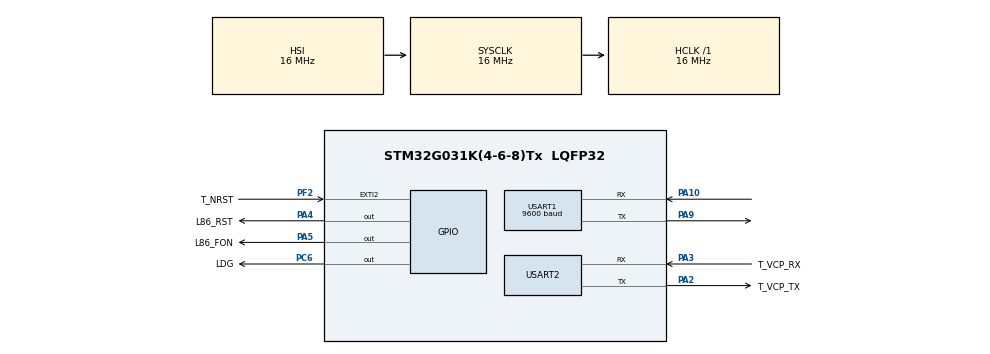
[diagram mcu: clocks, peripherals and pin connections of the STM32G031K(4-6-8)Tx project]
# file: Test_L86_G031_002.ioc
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Mcu.Family=STM32G0
Mcu.Name=STM32G031K(4-6-8)Tx
Mcu.Package=LQFP32
PA10.Mode=Asynchronous
PA10.Signal=USART1_RX
PA13.GPIO_Label=T_JTMS
PA13.Mode=Serial_Wire
PA13.Signal=SYS_SWDIO
PA14-BOOT0.GPIO_Label=T_JTCK
PA14-BOOT0.Mode=Serial_Wire
PA14-BOOT0.Signal=SYS_SWCLK
PA2.GPIO_Label=T_VCP_TX
PA2.GPIO_PuPd=GPIO_PULLUP
PA2.Mode=Asynchronous
PA2.Signal=USART2_TX
PA3.GPIO_Label=T_VCP_RX
PA3.GPIO_PuPd=GPIO_PULLUP
PA3.Mode=Asynchronous
PA3.Signal=USART2_RX
PA4.GPIO_Label=L86_RST
PA4.PinState=GPIO_PIN_SET
PA4.Signal=GPIO_Output
PA5.GPIO_Label=L86_FON
PA5.Signal=GPIO_Output
PA9.Mode=Asynchronous
PA9.Signal=USART1_TX
PC14-OSC32_IN\ (PC14).Mode=LSE-External-Oscillator
PC14-OSC32_IN\ (PC14).Signal=RCC_OSC32_IN
PC15-OSC32_OUT\ (PC15).Mode=LSE-External-Oscillator
PC15-OSC32_OUT\ (PC15).Signal=RCC_OSC32_OUT
PC6.GPIO_Label=LDG
PC6.Signal=GPIO_Output
PF2\ -\ NRST.GPIO_Label=T_NRST
PF2\ -\ NRST.Signal=GPXTI2
ProjectManager.HeapSize=0x200
ProjectManager.StackSize=0x400
ProjectManager.TargetToolchain=STM32CubeIDE
RCC.AHBFreq_Value=16000000
RCC.CortexFreq_Value=16000000
RCC.EXTERNAL_CLOCK_VALUE=12288000
RCC.HCLKFreq_Value=16000000
RCC.HSE_VALUE=8000000
RCC.HSI_VALUE=16000000
RCC.SYSCLKFreq_VALUE=16000000
RCC.VCOOutputFreq_Value=128000000
RTC.Alarm-Alarm\ A=RTC_ALARM_A
RTC.Date=30
RTC.Month=RTC_MONTH_SEPTEMBER
RTC.WeekDay=RTC_WEEKDAY_SATURDAY
RTC.Year=23
USART1.BaudRate=9600
USART1.VirtualMode-Asynchronous=VM_ASYNC
USART2.VirtualMode-Asynchronous=VM_ASYNC
USART2.WordLength=WORDLENGTH_7B
VP_RTC_VS_RTC_Activate.Mode=RTC_Enabled
VP_RTC_VS_RTC_Alarm_A_Intern.Mode=Alarm A
VP_RTC_VS_RTC_Calendar.Mode=RTC_Calendar
board=NUCLEO-G031K8

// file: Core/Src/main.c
/* USER CODE BEGIN Header */
/**
  ******************************************************************************
  * @file           : main.c
  * @brief          : Main program body
  ******************************************************************************
  * @attention
  *
  * Copyright (c) 2023 STMicroelectronics.
  * All rights reserved.
  *
  * This software is licensed under terms that can be found in the LICENSE file
  * in the root directory of this software component.
  * If no LICENSE file comes with this software, it is provided AS-IS.
  *
  ******************************************************************************
  */
/* USER CODE END Header */
#include "main.h"

/* USER CODE BEGIN Includes */
#include <stdio.h>
#include <string.h>
#include <stdbool.h>
/* USER CODE END Includes */

/* USER CODE BEGIN PD */
#define HUART_L86						&huart1
#define HUART_USB						&huart2
#define UART_TX_TIMEOUT					100
#define UART_L86_RX_MAX_BUFF_SIZE		100
#define UART_USB_RX_MAX_BUFF_SIZE		100
#define UART_TX_MAX_BUFF_SIZE			250
/* USER CODE END PD */

RTC_HandleTypeDef hrtc;

UART_HandleTypeDef huart1;
UART_HandleTypeDef huart2;

/* USER CODE BEGIN PV */
HAL_StatusTypeDef result = HAL_ERROR ; // HAL_OK = 0x00, HAL_ERROR = 0x01, HAL_BUSY = 0x02, HAL_TIMEOUT = 0x03
/* USER CODE END PV */

void SystemClock_Config(void);
static void MX_GPIO_Init(void);
static void MX_USART2_UART_Init(void);
static void MX_RTC_Init(void);
static void MX_USART1_UART_Init(void);
/* USER CODE BEGIN PFP */
void send_debug_logs ( char* ) ;
void reset_l86 ( void ) ;
void send_l86_request ( uint8_t* , uint32_t ) ;
bool is_l86_character_received ( uint8_t* ) ;
/* USER CODE END PFP */

int main(void)
{

  /* MCU Configuration--------------------------------------------------------*/

  /* Reset of all peripherals, Initializes the Flash interface and the Systick. */
  HAL_Init();

  /* Configure the system clock */
  SystemClock_Config();

  /* Initialize all configured peripherals */
  MX_GPIO_Init();
  MX_USART2_UART_Init();
  MX_RTC_Init();
  MX_USART1_UART_Init();
  /* USER CODE BEGIN 2 */
	send_debug_logs ( "\nStart the application." ) ;

  /* USER CODE END 2 */

  /* Infinite loop */
  while (1)
  {

  }
}

void SystemClock_Config(void)
{
  RCC_OscInitTypeDef RCC_OscInitStruct = {0};
  RCC_ClkInitTypeDef RCC_ClkInitStruct = {0};

  /** Configure the main internal regulator output voltage
  */
  HAL_PWREx_ControlVoltageScaling(PWR_REGULATOR_VOLTAGE_SCALE1);

  /** Initializes the RCC Oscillators according to the specified parameters
  * in the RCC_OscInitTypeDef structure.
  */
  RCC_OscInitStruct.OscillatorType = RCC_OSCILLATORTYPE_HSI|RCC_OSCILLATORTYPE_LSI;
  RCC_OscInitStruct.HSIState = RCC_HSI_ON;
  RCC_OscInitStruct.HSIDiv = RCC_HSI_DIV1;
  RCC_OscInitStruct.HSICalibrationValue = RCC_HSICALIBRATION_DEFAULT;
  RCC_OscInitStruct.LSIState = RCC_LSI_ON;
  RCC_OscInitStruct.PLL.PLLState = RCC_PLL_NONE;
  if (HAL_RCC_OscConfig(&RCC_OscInitStruct) != HAL_OK)
  {
    Error_Handler();
  }

  /** Initializes the CPU, AHB and APB buses clocks
  */
  RCC_ClkInitStruct.ClockType = RCC_CLOCKTYPE_HCLK|RCC_CLOCKTYPE_SYSCLK
                              |RCC_CLOCKTYPE_PCLK1;
  RCC_ClkInitStruct.SYSCLKSource = RCC_SYSCLKSOURCE_HSI;
  RCC_ClkInitStruct.AHBCLKDivider = RCC_SYSCLK_DIV1;
  RCC_ClkInitStruct.APB1CLKDivider = RCC_HCLK_DIV1;

  if (HAL_RCC_ClockConfig(&RCC_ClkInitStruct, FLASH_LATENCY_0) != HAL_OK)
  {
    Error_Handler();
  }
}

static void MX_RTC_Init(void)
{

  RTC_TimeTypeDef sTime = {0};
  RTC_DateTypeDef sDate = {0};
  RTC_AlarmTypeDef sAlarm = {0};

  /** Initialize RTC Only
  */
  hrtc.Instance = RTC;
  hrtc.Init.HourFormat = RTC_HOURFORMAT_24;
  hrtc.Init.AsynchPrediv = 127;
  hrtc.Init.SynchPrediv = 255;
  hrtc.Init.OutPut = RTC_OUTPUT_DISABLE;
  hrtc.Init.OutPutRemap = RTC_OUTPUT_REMAP_NONE;
  hrtc.Init.OutPutPolarity = RTC_OUTPUT_POLARITY_HIGH;
  hrtc.Init.OutPutType = RTC_OUTPUT_TYPE_OPENDRAIN;
  hrtc.Init.OutPutPullUp = RTC_OUTPUT_PULLUP_NONE;
  if (HAL_RTC_Init(&hrtc) != HAL_OK)
  {
    Error_Handler();
  }

  /** Initialize RTC and set the Time and Date
  */
  sTime.Hours = 0x0;
  sTime.Minutes = 0x0;
  sTime.Seconds = 0x0;
  sTime.SubSeconds = 0x0;
  sTime.DayLightSaving = RTC_DAYLIGHTSAVING_NONE;
  sTime.StoreOperation = RTC_STOREOPERATION_RESET;
  if (HAL_RTC_SetTime(&hrtc, &sTime, RTC_FORMAT_BCD) != HAL_OK)
  {
    Error_Handler();
  }
  sDate.WeekDay = RTC_WEEKDAY_SATURDAY;
  sDate.Month = RTC_MONTH_SEPTEMBER;
  sDate.Date = 0x30;
  sDate.Year = 0x23;

  if (HAL_RTC_SetDate(&hrtc, &sDate, RTC_FORMAT_BCD) != HAL_OK)
  {
    Error_Handler();
  }

  /** Enable the Alarm A
  */
  sAlarm.AlarmTime.Hours = 0x0;
  sAlarm.AlarmTime.Minutes = 0x0;
  sAlarm.AlarmTime.Seconds = 0x0;
  sAlarm.AlarmTime.SubSeconds = 0x0;
  sAlarm.AlarmTime.DayLightSaving = RTC_DAYLIGHTSAVING_NONE;
  sAlarm.AlarmTime.StoreOperation = RTC_STOREOPERATION_RESET;
  sAlarm.AlarmMask = RTC_ALARMMASK_NONE;
  sAlarm.AlarmSubSecondMask = RTC_ALARMSUBSECONDMASK_ALL;
  sAlarm.AlarmDateWeekDaySel = RTC_ALARMDATEWEEKDAYSEL_DATE;
  sAlarm.AlarmDateWeekDay = 0x1;
  sAlarm.Alarm = RTC_ALARM_A;
  if (HAL_RTC_SetAlarm(&hrtc, &sAlarm, RTC_FORMAT_BCD) != HAL_OK)
  {
    Error_Handler();
  }

}

static void MX_USART1_UART_Init(void)
{

  huart1.Instance = USART1;
  huart1.Init.BaudRate = 9600;
  huart1.Init.WordLength = UART_WORDLENGTH_8B;
  huart1.Init.StopBits = UART_STOPBITS_1;
  huart1.Init.Parity = UART_PARITY_NONE;
  huart1.Init.Mode = UART_MODE_TX_RX;
  huart1.Init.HwFlowCtl = UART_HWCONTROL_NONE;
  huart1.Init.OverSampling = UART_OVERSAMPLING_16;
  huart1.Init.OneBitSampling = UART_ONE_BIT_SAMPLE_DISABLE;
  huart1.Init.ClockPrescaler = UART_PRESCALER_DIV1;
  huart1.AdvancedInit.AdvFeatureInit = UART_ADVFEATURE_NO_INIT;
  if (HAL_UART_Init(&huart1) != HAL_OK)
  {
    Error_Handler();
  }
  if (HAL_UARTEx_SetTxFifoThreshold(&huart1, UART_TXFIFO_THRESHOLD_1_8) != HAL_OK)
  {
    Error_Handler();
  }
  if (HAL_UARTEx_SetRxFifoThreshold(&huart1, UART_RXFIFO_THRESHOLD_1_8) != HAL_OK)
  {
    Error_Handler();
  }
  if (HAL_UARTEx_DisableFifoMode(&huart1) != HAL_OK)
  {
    Error_Handler();
  }

}

static void MX_USART2_UART_Init(void)
{

  huart2.Instance = USART2;
  huart2.Init.BaudRate = 115200;
  huart2.Init.WordLength = UART_WORDLENGTH_7B;
  huart2.Init.StopBits = UART_STOPBITS_1;
  huart2.Init.Parity = UART_PARITY_NONE;
  huart2.Init.Mode = UART_MODE_TX_RX;
  huart2.Init.HwFlowCtl = UART_HWCONTROL_NONE;
  huart2.Init.OverSampling = UART_OVERSAMPLING_16;
  huart2.Init.OneBitSampling = UART_ONE_BIT_SAMPLE_DISABLE;
  huart2.Init.ClockPrescaler = UART_PRESCALER_DIV1;
  huart2.AdvancedInit.AdvFeatureInit = UART_ADVFEATURE_NO_INIT;
  if (HAL_UART_Init(&huart2) != HAL_OK)
  {
    Error_Handler();
  }

}

static void MX_GPIO_Init(void)
{
  GPIO_InitTypeDef GPIO_InitStruct = {0};

  /* GPIO Ports Clock Enable */
  __HAL_RCC_GPIOC_CLK_ENABLE();
  __HAL_RCC_GPIOF_CLK_ENABLE();
  __HAL_RCC_GPIOA_CLK_ENABLE();

  /*Configure GPIO pin Output Level */
  HAL_GPIO_WritePin(L86_RST_GPIO_Port, L86_RST_Pin, GPIO_PIN_SET);

  /*Configure GPIO pin Output Level */
  HAL_GPIO_WritePin(L86_FON_GPIO_Port, L86_FON_Pin, GPIO_PIN_RESET);

  /*Configure GPIO pin Output Level */
  HAL_GPIO_WritePin(LDG_GPIO_Port, LDG_Pin, GPIO_PIN_RESET);

  /*Configure GPIO pin : T_NRST_Pin */
  GPIO_InitStruct.Pin = T_NRST_Pin;
  GPIO_InitStruct.Mode = GPIO_MODE_IT_RISING;
  GPIO_InitStruct.Pull = GPIO_NOPULL;
  HAL_GPIO_Init(T_NRST_GPIO_Port, &GPIO_InitStruct);

  /*Configure GPIO pins : L86_RST_Pin L86_FON_Pin */
  GPIO_InitStruct.Pin = L86_RST_Pin|L86_FON_Pin;
  GPIO_InitStruct.Mode = GPIO_MODE_OUTPUT_PP;
  GPIO_InitStruct.Pull = GPIO_NOPULL;
  GPIO_InitStruct.Speed = GPIO_SPEED_FREQ_LOW;
  HAL_GPIO_Init(GPIOA, &GPIO_InitStruct);

  /*Configure GPIO pin : LDG_Pin */
  GPIO_InitStruct.Pin = LDG_Pin;
  GPIO_InitStruct.Mode = GPIO_MODE_OUTPUT_PP;
  GPIO_InitStruct.Pull = GPIO_NOPULL;
  GPIO_InitStruct.Speed = GPIO_SPEED_FREQ_LOW;
  HAL_GPIO_Init(LDG_GPIO_Port, &GPIO_InitStruct);

}

/* USER CODE BEGIN 4 */
void send_debug_logs ( char* p_tx_buffer )
{
    uint32_t length = strlen ( p_tx_buffer ) ;

    if ( length > UART_TX_MAX_BUFF_SIZE )
    {
        HAL_UART_Transmit ( HUART_USB , ( uint8_t* ) ";[ERROR] UART buffer reached max length.\n" , 43 , 1000 ) ;
        length = UART_TX_MAX_BUFF_SIZE;
    }

    HAL_UART_Transmit ( HUART_USB , ( uint8_t* ) p_tx_buffer , length , 1000 ) ;
    HAL_UART_Transmit ( HUART_USB , ( uint8_t* ) "\n" , 1 , 1000 ) ;
}

void send_l86_request ( uint8_t* p_tx_buffer , uint32_t length )
{
    send_debug_logs ( ";Message sent to the L86 --> " ) ;
    send_debug_logs ( ( char* ) p_tx_buffer ) ;
    HAL_UART_Transmit ( HUART_L86 , p_tx_buffer , length , 1000 ) ;
}
bool is_l86_character_received ( uint8_t* p_rx_char )
{
    return ( HAL_UART_Receive ( HUART_L86 , p_rx_char , 1 , 100 ) == HAL_OK ? true : false ) ;
}
/* USER CODE END 4 */

void Error_Handler(void)
{
  __disable_irq();
  while (1)
  {
  }
}
